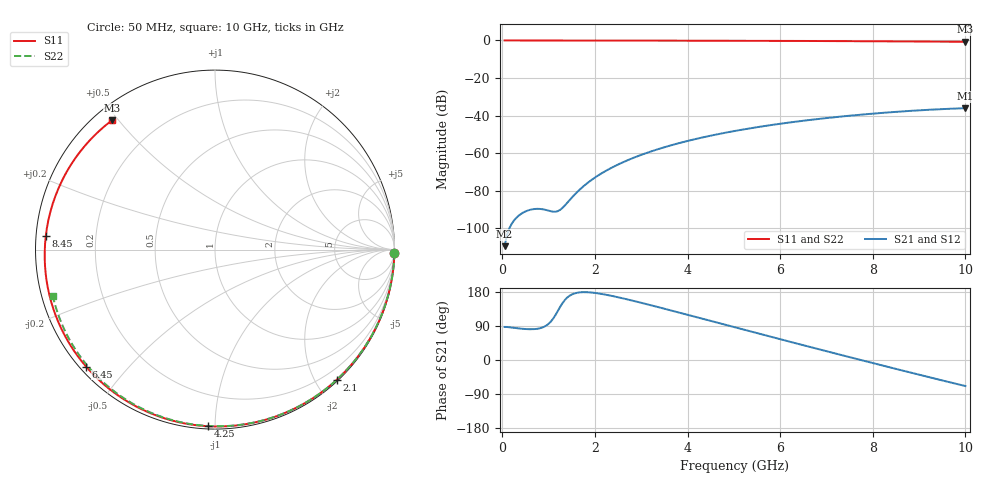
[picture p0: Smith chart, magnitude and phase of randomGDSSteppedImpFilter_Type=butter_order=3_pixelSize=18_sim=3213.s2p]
! freq	dB(S11)	phase(S11)	dB(S12)	phase(S12)
!  dB(S21)	phase(S21)	dB(S22)	phase(S22)
!S-par simulation data
#  GHz  S  DB  R 50
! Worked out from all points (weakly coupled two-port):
!   200 points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, 50 MHz to 10 GHz, reference 50 ohm
!   highest |S21| = -36.03 dB at 10 GHz (marker M1); lowest = -109.4 dB at 50 MHz (marker M2)
!   lowest |S11| = -0.7 dB at 10 GHz (marker M3), VSWR 24.27, Z = 2.54 + j24.1 ohm
!   |S11| at or under -10 dB: nowhere
!   |S22| runs from -0.5 to 0.0 dB; largest |S21 - S12| = 0
!   S11 on the Smith chart (normalised r, x): 50 MHz: open; 2.1 GHz: 0.02, -2.31; 4.25 GHz: 0.01, -0.96; 6.45 GHz: 0.02, -0.39; 8.45 GHz: 0.03, +0.04; 10 GHz: 0.05, +0.48
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0.05  -0.00 -1.2  -109.43 87.2  -109.43 87.2  -0.00 -1.0
0.8  -0.02 -18.1  -89.60 83.3  -89.60 83.3  -0.02 -15.3
1.6  -0.05 -35.9  -81.03 177.0  -81.03 177.0  -0.04 -30.3
1.65  -0.05 -37.0  -79.84 178.1  -79.84 178.1  -0.04 -31.2
1.75  -0.05 -39.2  -77.62 179.0  -77.62 179.0  -0.04 -33.0
2.1  -0.06 -46.8  -71.35 175.2  -71.35 175.2  -0.05 -39.4
2.4  -0.07 -53.3  -67.21 168.3  -67.21 168.3  -0.06 -44.9
2.7  -0.08 -59.7  -63.78 159.9  -63.78 159.9  -0.06 -50.2
3.4  -0.10 -74.5  -57.55 138.5  -57.55 138.5  -0.08 -62.5
4.25  -0.13 -92.2  -52.00 111.2  -52.00 111.2  -0.11 -76.9
5.05  -0.17 -108.6  -48.02 85.4  -48.02 85.4  -0.14 -89.9
5.75  -0.21 -123.1  -45.20 62.9  -45.20 62.9  -0.17 -100.9
6.45  -0.27 -137.8  -42.86 40.6  -42.86 40.6  -0.21 -111.6
6.7  -0.29 -143.2  -42.12 32.6  -42.12 32.6  -0.22 -115.3
7.55  -0.37 -162.3  -39.92 5.9  -39.92 5.9  -0.29 -127.9
7.95  -0.42 -171.9  -39.04 -6.5  -39.04 -6.5  -0.32 -133.8
8.35  -0.47 178.0  -38.25 -18.9  -38.25 -18.9  -0.36 -139.6
8.45  -0.48 175.4  -38.07 -22.0  -38.07 -22.0  -0.37 -141.1
8.85  -0.54 164.5  -37.40 -34.2  -37.40 -34.2  -0.41 -146.9
9.25  -0.60 152.9  -36.83 -46.4  -36.83 -46.4  -0.45 -152.8
9.65  -0.66 140.3  -36.35 -58.4  -36.35 -58.4  -0.50 -158.7
10  -0.72 128.5  -36.03 -68.7  -36.03 -68.7  -0.54 -164.0
